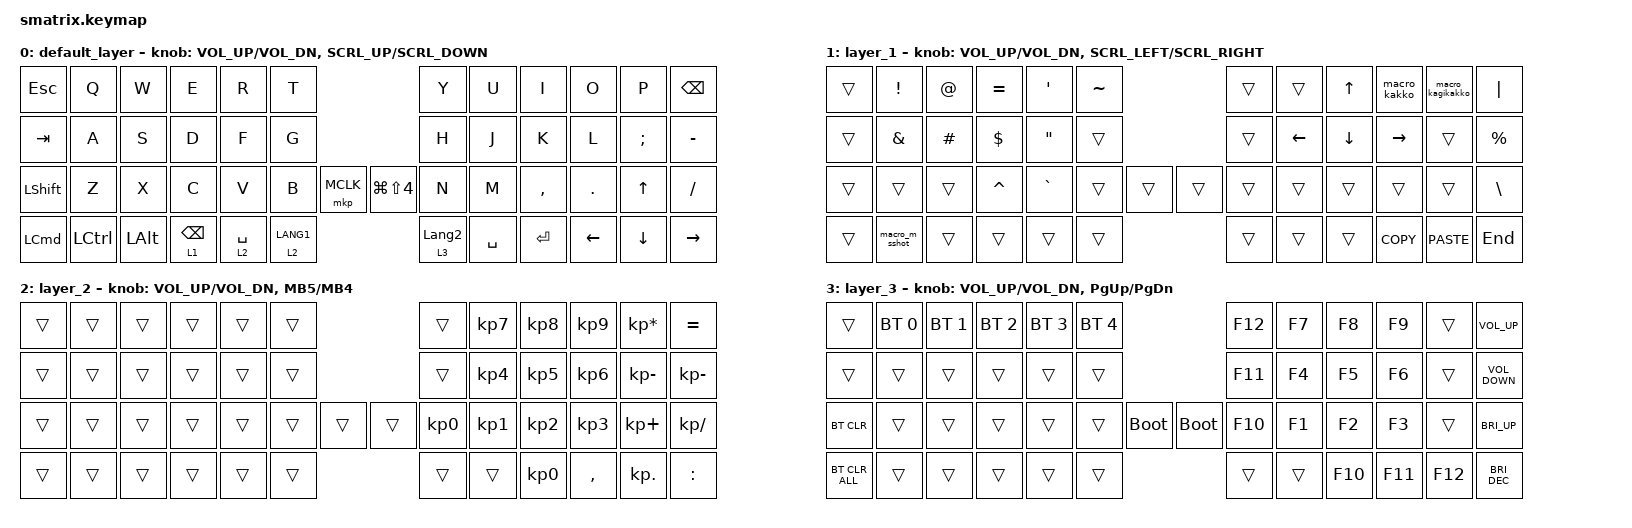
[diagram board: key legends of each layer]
#define ZMK_POINTING_DEFAULT_MOVE_VAL 800
#define ZMK_POINTING_DEFAULT_SCRL_VAL 120

#include <input/processors.dtsi>
#include <zephyr/dt-bindings/input/input-event-codes.h>
#include <behaviors.dtsi>
#include <dt-bindings/zmk/bt.h>
#include <dt-bindings/zmk/keys.h>
#include <dt-bindings/zmk/pointing.h>

&mt {
    flavor = "balanced";
    quick-tap-ms = <0>;
};

&msc {
    delay-ms = <0>;
    trigger-period-ms = <10>;
    time-to-max-speed-ms = <0>;
    acceleration-exponent = <0>;
};

/ {
    input_processors {
        zip_wheel_scaler: zip_wheel_scaler {
            compatible = "zmk,input-processor-scaler";
            #input-processor-cells = <2>;
            type = <INPUT_EV_REL>;
            codes = <INPUT_REL_WHEEL>;
            track-remainders;
        };
    };
};

&msc_input_listener {
    warp {
        layers = <0>;
        input-processors = <&zip_wheel_scaler 4 1>;
    };

    precision {
        layers = <1>;
        input-processors = <&zip_wheel_scaler 1 2>;
    };
};

/ {
    behaviors {
        rot_kp: sensor_rotate_kp {
            compatible = "zmk,behavior-sensor-rotate-var";
            #sensor-binding-cells = <2>;
            bindings = <&kp>, <&kp>;
        };

        mouse_click: mouse_button_kp {
            compatible = "zmk,behavior-sensor-rotate-var";
            #sensor-binding-cells = <2>;
            bindings = <&mkp>, <&mkp>;
        };

        mouse_scrl: mouse_wheel_scrl {
            compatible = "zmk,behavior-sensor-rotate-var";
            #sensor-binding-cells = <2>;
            bindings = <&msc>, <&msc>;

            tap-ms = <10>;
        };

        macro_w_sshot: macro_w_sshot {
            compatible = "zmk,behavior-macro";
            label = "Win Screenshot Macro";
            #binding-cells = <0>;
            bindings =
                <&macro_press>,
                <&kp LGUI &kp LSHFT>,
                <&macro_tap>,
                <&kp S>,
                <&macro_release>,
                <&kp LGUI &kp LSHFT>;
        };

        macro_m_sshot: macro_m_sshot {
            compatible = "zmk,behavior-macro";
            label = "Mac Screenshot Macro";
            #binding-cells = <0>;
            bindings =
                <&macro_press>,
                <&kp LGUI &kp LSHFT>,
                <&macro_tap>,
                <&kp N4>,
                <&macro_release>,
                <&kp LGUI &kp LSHFT>;
        };

        macro_w_TMute: macro_w_TMute {
            compatible = "zmk,behavior-macro";
            label = "Win Teams Mic Mute";
            #binding-cells = <0>;
            bindings =
                <&macro_press>,
                <&kp LGUI &kp LALT>,
                <&macro_tap>,
                <&kp K>,
                <&macro_release>,
                <&kp LGUI &kp LALT>;
        };

        macro_kakko: macro_kakko {
            compatible = "zmk,behavior-macro";
            #binding-cells = <0>;
            bindings = <&kp LEFT_PARENTHESIS &kp RIGHT_PARENTHESIS &kp LEFT>;
            label = "MACRO_KAKKO";
        };

        macro_kagikakko: macro_kagikakko {
            compatible = "zmk,behavior-macro";
            #binding-cells = <0>;
            bindings = <&kp LEFT_BRACE &kp RIGHT_BRACE &kp LEFT>;
            label = "MACRO_KAGIKAKKO";
        };
    };

    macros {
    };

    keymap {
        compatible = "zmk,keymap";

        default_layer {
            bindings = <
&kp ESCAPE        &kp Q             &kp W         &kp E            &kp R        &kp T                                     &kp Y             &kp U      &kp I      &kp O       &kp P     &kp BACKSPACE
&kp TAB           &kp A             &kp S         &kp D            &kp F        &kp G                                     &kp H             &kp J      &kp K      &kp L       &kp SEMI  &kp MINUS
&kp LSHFT         &kp Z             &kp X         &kp C            &kp V        &kp B        &mkp MCLK    &kp LG(LS(N4))  &kp N             &kp M      &kp COMMA  &kp PERIOD  &kp UP    &kp SLASH
&kp LEFT_COMMAND  &kp LEFT_CONTROL  &kp LEFT_ALT  &lt 1 BACKSPACE  &lt 2 SPACE  &lt 2 LANG1                               &lt 3 LANGUAGE_2  &kp SPACE  &kp ENTER  &kp LEFT    &kp DOWN  &kp RIGHT
            >;

            sensor-bindings = <&rot_kp C_VOL_UP C_VOL_DN    &mouse_scrl SCRL_UP SCRL_DOWN>;
        };

        layer_1 {
            bindings = <
&trans  &kp EXCL        &kp AT    &kp EQUAL   &kp APOS   &kp TILDE                    &trans  &trans    &kp UP_ARROW    &macro_kakko  &macro_kagikakko  &kp PIPE
&trans  &kp AMPS        &kp HASH  &kp DOLLAR  &kp DQT    &trans                       &trans  &kp LEFT  &kp DOWN_ARROW  &kp RIGHT     &trans            &kp PERCENT
&trans  &trans          &trans    &kp CARET   &kp GRAVE  &trans     &trans    &trans  &trans  &trans    &trans          &trans        &trans            &kp BSLH
&trans  &macro_m_sshot  &trans    &trans      &trans     &trans                       &trans  &trans    &trans          &kp K_COPY    &kp K_PASTE       &kp END
            >;

            sensor-bindings = <&rot_kp C_VOL_UP C_VOL_DN    &mouse_scrl SCRL_LEFT SCRL_RIGHT>;
        };

        layer_2 {
            bindings = <
&trans  &trans  &trans  &trans  &trans  &trans                    &trans     &kp KP_N7  &kp KP_N8        &kp KP_N9  &kp KP_ASTERISK  &kp EQUAL
&trans  &trans  &trans  &trans  &trans  &trans                    &trans     &kp KP_N4  &kp KP_N5        &kp KP_N6  &kp KP_MINUS     &kp KP_MINUS
&trans  &trans  &trans  &trans  &trans  &trans  &trans    &trans  &kp KP_N0  &kp KP_N1  &kp KP_N2        &kp KP_N3  &kp KP_PLUS      &kp KP_SLASH
&trans  &trans  &trans  &trans  &trans  &trans                    &trans     &trans     &kp KP_NUMBER_0  &kp COMMA  &kp KP_DOT       &kp COLON
            >;

            sensor-bindings = <&rot_kp C_VOL_UP C_VOL_DN    &mouse_click MB5 MB4>;
        };

        layer_3 {
            bindings = <
&trans          &bt BT_SEL 0  &bt BT_SEL 1  &bt BT_SEL 2  &bt BT_SEL 3  &bt BT_SEL 4                              &kp F12  &kp F7  &kp F8   &kp F9   &trans   &kp K_VOLUME_UP
&trans          &trans        &trans        &trans        &trans        &trans                                    &kp F11  &kp F4  &kp F5   &kp F6   &trans   &kp K_VOLUME_DOWN
&bt BT_CLR      &trans        &trans        &trans        &trans        &trans        &bootloader    &bootloader  &kp F10  &kp F1  &kp F2   &kp F3   &trans   &kp C_BRI_UP
&bt BT_CLR_ALL  &trans        &trans        &trans        &trans        &trans                                    &trans   &trans  &kp F10  &kp F11  &kp F12  &kp C_BRI_DEC
            >;

            sensor-bindings = <&rot_kp C_VOL_UP C_VOL_DN    &rot_kp PG_UP PG_DN>;
        };
    };
};
